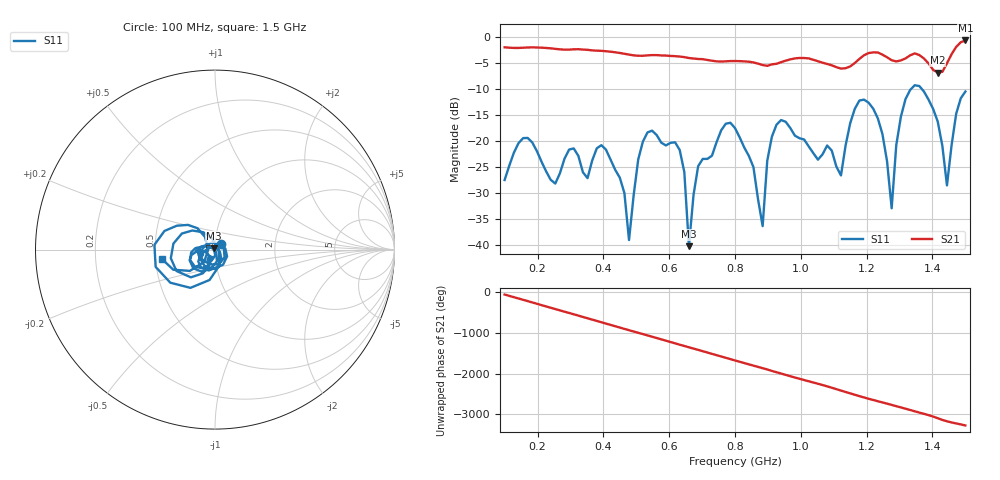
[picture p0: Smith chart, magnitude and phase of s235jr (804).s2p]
! NanoVNA-App
! Date: 2025-09-25 15:10:25
! Start: 100MHz Stop: 1,5GHz Points: 101
! S-Parameter data: F S11 S21 S12 S22
# Hz S RI R 50
!  Frequency  S11_Real  S11_Imag  S21_Real  S21_Imag  S12_Real  S12_Imag  S22_Real  S22_Imag
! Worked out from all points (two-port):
!   101 points, 100 MHz to 1.5 GHz, reference 50 ohm
!   highest |S21| = -0.65 dB at 1.5 GHz (marker M1); lowest = -6.8 dB at 1.416 GHz (marker M2)
!   |S21| within 3 dB of the highest: start of sweep to 612.1 MHz; 1.189 GHz to 1.256 GHz (66.69 MHz wide, 5.46 % of centre) (the widest 2 of 4)
!   lowest |S11| = -40.2 dB at 660 MHz (marker M3), VSWR 1.02, Z = 49.3 + j0.624 ohm
!   |S11| at or under -10 dB: start of sweep to 1.335 GHz; 1.368 GHz to end of sweep
!   S12 and S22 are empty: the file has one direction only
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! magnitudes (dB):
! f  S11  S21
! 100 MHz  -27.5  -2.0
! 156 MHz  -19.4  -2.0
! 338 MHz  -26.0  -2.4
! 408 MHz  -21.6  -2.7
! 478 MHz  -39.0  -3.4
! 520 MHz  -20.1  -3.6
! 576 MHz  -20.3  -3.5
! 632 MHz  -21.7  -3.7
! 660 MHz  -40.2  -4.0
! 688 MHz  -24.8  -4.2
! 800 MHz  -17.5  -4.6
! 884 MHz  -36.3  -5.4
! 926 MHz  -16.9  -5.1
! 1.038 GHz  -22.3  -4.4
! 1.122 GHz  -26.6  -6.1
! 1.206 GHz  -12.6  -3.1
! 1.276 GHz  -32.9  -4.4
! 1.29 GHz  -20.8  -4.7
! 1.332 GHz  -10.2  -3.5
! 1.416 GHz  -16.2  -6.8
! 1.444 GHz  -28.5  -5.0
! 1.5 GHz  -10.5  -0.6
